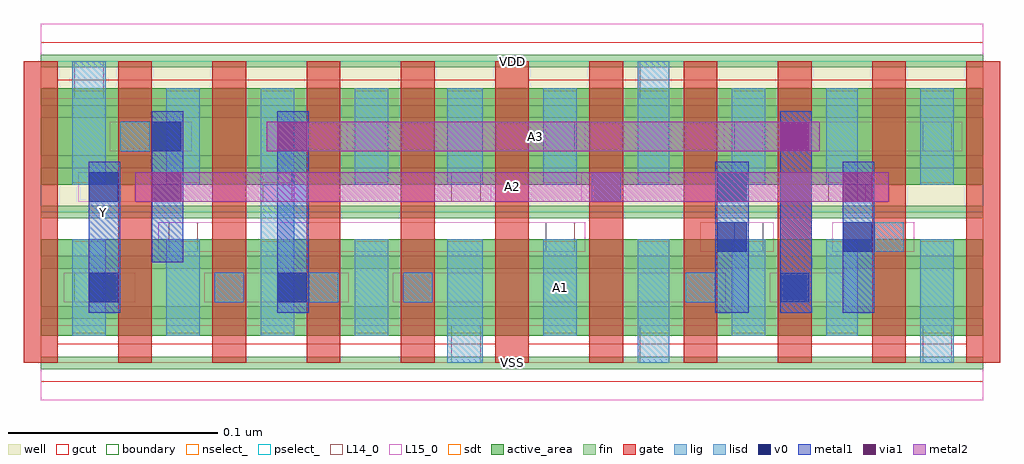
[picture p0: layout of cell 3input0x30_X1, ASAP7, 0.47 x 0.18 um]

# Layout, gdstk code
import gdstk
lib = gdstk.Library(unit=1e-6, precision=1e-09)
def R(c, l, rs):  # rectangles x0, y0, x1, y1
    for r in rs: c.add(gdstk.rectangle(r[:2], r[2:], *l))
def A(c, l, x, y, w, h, nx, ny, dx, dy):  # array of equal rectangles
    R(c, l, [(x+i*dx, y+j*dy, x+i*dx+w, y+j*dy+h) for i in range(nx) for j in range(ny)])
def P(c, l, *ps):  # polygons
    for p in ps: c.add(gdstk.Polygon(p, *l))
well = (1, 0)
fin = (2, 0)
gate = (7, 0)
gcut = (10, 0)
active_area = (11, 0)
nselect_ = (12, 0)
pselect_ = (13, 0)
L14_0 = (14, 0)
L15_0 = (15, 0)
lig = (16, 0)
lisd = (17, 0)
v0 = (18, 0)
metal1 = (19, 0)
metal2 = (20, 0)
via1 = (21, 0)
sdt = (88, 0)
boundary = (100, 0)

c_3input0x30_x1 = lib.new_cell('3input0x30_X1')
R(c_3input0x30_x1, well, [(0,0.072,0.45,0.144)])
A(c_3input0x30_x1, fin, 0, -0.003, 0.45, 0.006, 1, 7, 0, 0.024)
A(c_3input0x30_x1, gate, -0.008, 0, 0.016, 0.144, 11, 1, 0.045, 0)
P(c_3input0x30_x1, gcut, [(0,-0.009),(0,0),(-0.008,0),(-0.008,0.135),(0.008,0.135),(0.008,0.009),(0.217,0.009),(0.217,0.135),(0.233,0.135),(0.233,0.009),(0.442,0.009),(0.442,0.135),(-0.008,0.135),(-0.008,0.144),(0,0.144),(0,0.153),(0.45,0.153),(0.45,0.144),(0.458,0.144),(0.458,0),(0.45,0),(0.45,-0.009)])
R(c_3input0x30_x1, active_area, [(0,0.013,0.45,0.059), (0,0.085,0.45,0.131)])
R(c_3input0x30_x1, nselect_, [(0,0,0.45,0.072)])
R(c_3input0x30_x1, pselect_, [(0,0.072,0.45,0.144)])
A(c_3input0x30_x1, L14_0, 0.083, 0.029, 0.014, 0.014, 3, 1, 0.045, 0)
A(c_3input0x30_x1, L14_0, 0.241, 0.101, 0.014, 0.014, 3, 1, 0.09, 0)
R(c_3input0x30_x1, L14_0, [(0.196,0,0.21,0.018), (0.286,0,0.3,0.018), (0.421,0,0.435,0.018), (0.016,0.029,0.03,0.043), (0.308,0.029,0.322,0.043), (0.353,0.029,0.367,0.043), (0.061,0.053,0.075,0.067), (0.241,0.053,0.255,0.067), (0.331,0.053,0.345,0.067), (0.398,0.053,0.412,0.067), (0.106,0.077,0.12,0.091), (0.196,0.077,0.21,0.091), (0.263,0.077,0.277,0.091), (0.376,0.077,0.39,0.091), (0.038,0.101,0.052,0.115), (0.15,0.101,0.165,0.115), (0.016,0.126,0.03,0.144), (0.286,0.126,0.3,0.144)])
R(c_3input0x30_x1, L15_0, [(0,-0.018,0.45,0.018), (0.011,0.029,0.045,0.043), (0.078,0.029,0.147,0.043), (0.168,0.029,0.327,0.043), (0.348,0.029,0.383,0.043), (0.056,0.053,0.26,0.067), (0.315,0.053,0.35,0.067), (0.378,0.053,0.417,0.067), (0.018,0.077,0.215,0.091), (0.258,0.077,0.394,0.091), (0.033,0.101,0.072,0.115), (0.146,0.101,0.26,0.115), (0.326,0.101,0.44,0.115), (0,0.126,0.45,0.162)])
A(c_3input0x30_x1, lig, 0.083, 0.029, 0.014, 0.014, 3, 1, 0.045, 0)
R(c_3input0x30_x1, lig, [(0.308,0.029,0.322,0.043), (0.353,0.029,0.367,0.043), (0.398,0.053,0.412,0.067), (0.263,0.077,0.277,0.091), (0.038,0.101,0.052,0.115)])
A(c_3input0x30_x1, lisd, 0.06, 0.013, 0.016, 0.046, 4, 1, 0.09, 0)
A(c_3input0x30_x1, lisd, 0.06, 0.085, 0.016, 0.046, 5, 1, 0.09, 0)
R(c_3input0x30_x1, lisd, [(0.194,0,0.211,0.059), (0.285,0,0.3,0.059), (0.42,0,0.436,0.059), (0.015,0.013,0.031,0.059), (0.105,0.013,0.121,0.131), (0.375,0.013,0.39,0.059), (0.015,0.085,0.031,0.144), (0.194,0.085,0.211,0.131), (0.285,0.085,0.3,0.144), (0.375,0.085,0.39,0.131)])
R(c_3input0x30_x1, v0, [(0.023,0.029,0.037,0.043), (0.113,0.029,0.127,0.043), (0.353,0.029,0.367,0.043), (0.323,0.053,0.337,0.067), (0.383,0.053,0.397,0.067), (0.023,0.077,0.037,0.091), (0.323,0.077,0.337,0.091), (0.053,0.101,0.067,0.115)])
R(c_3input0x30_x1, metal1, [(0.023,0.024,0.038,0.096), (0.113,0.024,0.128,0.12), (0.322,0.024,0.338,0.096), (0.353,0.024,0.368,0.12), (0.383,0.024,0.398,0.096), (0.053,0.048,0.068,0.12)])
R(c_3input0x30_x1, metal2, [(0.045,0.077,0.405,0.091), (0.108,0.101,0.372,0.115)])
R(c_3input0x30_x1, via1, [(0.053,0.077,0.067,0.091), (0.383,0.077,0.397,0.091), (0.113,0.101,0.127,0.115), (0.353,0.101,0.367,0.115)])
A(c_3input0x30_x1, sdt, 0.015, 0.014, 0.016, 0.044, 4, 2, 0.045, 0.072)
A(c_3input0x30_x1, sdt, 0.24, 0.014, 0.016, 0.044, 3, 2, 0.09, 0.072)
R(c_3input0x30_x1, sdt, [(0.194,0.014,0.211,0.058), (0.285,0.014,0.3,0.058), (0.375,0.014,0.39,0.058), (0.194,0.086,0.211,0.13), (0.285,0.086,0.3,0.13), (0.375,0.086,0.39,0.13)])
R(c_3input0x30_x1, boundary, [(0,0,0.45,0.144)])
c_3input0x30_x1.add(gdstk.Label('VSS', (0.225,0), layer=15, texttype=251))
c_3input0x30_x1.add(gdstk.Label('VDD', (0.225,0.144), layer=15, texttype=251))
c_3input0x30_x1.add(gdstk.Label('VSS', (0.225,0), layer=15, texttype=251))
c_3input0x30_x1.add(gdstk.Label('VDD', (0.225,0.144), layer=15, texttype=251))
c_3input0x30_x1.add(gdstk.Label('VSS', (0.225,0), layer=15, texttype=251))
c_3input0x30_x1.add(gdstk.Label('VDD', (0.225,0.144), layer=15, texttype=251))
c_3input0x30_x1.add(gdstk.Label('A1', (0.248,0.036), layer=15, texttype=251))
c_3input0x30_x1.add(gdstk.Label('VSS', (0.225,0), layer=15, texttype=251))
c_3input0x30_x1.add(gdstk.Label('VDD', (0.225,0.144), layer=15, texttype=251))
c_3input0x30_x1.add(gdstk.Label('VSS', (0.225,0), layer=3, texttype=251))
c_3input0x30_x1.add(gdstk.Label('VSS', (0.225,0), layer=3, texttype=251))
c_3input0x30_x1.add(gdstk.Label('VSS', (0.225,0), layer=3, texttype=251))
c_3input0x30_x1.add(gdstk.Label('VSS', (0.225,0), layer=3, texttype=251))
c_3input0x30_x1.add(gdstk.Label('VDD', (0.225,0.144), layer=1, texttype=251))
c_3input0x30_x1.add(gdstk.Label('VDD', (0.225,0.144), layer=1, texttype=251))
c_3input0x30_x1.add(gdstk.Label('VDD', (0.225,0.144), layer=1, texttype=251))
c_3input0x30_x1.add(gdstk.Label('VDD', (0.225,0.144), layer=1, texttype=251))
c_3input0x30_x1.add(gdstk.Label('A2', (0.225,0.084), layer=20, texttype=251))
c_3input0x30_x1.add(gdstk.Label('A3', (0.236,0.108), layer=20, texttype=251))
c_3input0x30_x1.add(gdstk.Label('Y', (0.03,0.072), layer=19, texttype=251))

lib.write_gds('3input0x30_X1.gds')
